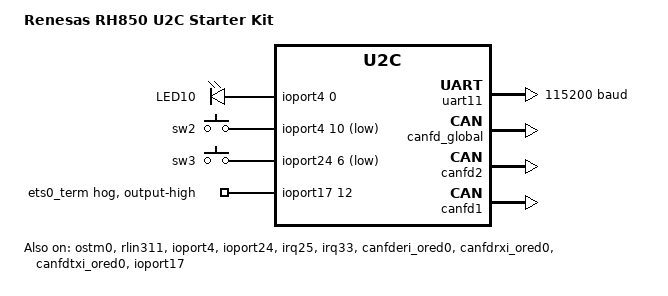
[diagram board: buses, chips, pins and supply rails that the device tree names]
/*
 * Copyright (c) 2026 Renesas Electronics Corporation
 * SPDX-License-Identifier: Apache-2.0
 */

/dts-v1/;

#include <rh850/renesas/rh850u2c/r7f702606afabb-c.dtsi>
#include <dt-bindings/gpio/gpio.h>
#include <dt-bindings/pwm/pwm.h>
#include <dt-bindings/input/input-event-codes.h>

#include "y_ask_rh850u2c-pinctrl.dtsi"

/ {
	model = "Renesas RH850 U2C Starter Kit";
	compatible = "renesas,u2c4", "renesas,u2c";

	chosen {
		zephyr,console = &uart11;
		zephyr,shell-uart = &uart11;
		zephyr,sram = &sram0;
		zephyr,flash = &flash0;
		zephyr,system-timer = &ostm0;
		zephyr,canbus = &canfd2;
	};

	aliases {
		led0 = &led10;
		sw0 = &sw2;
	};

	leds {
		compatible = "gpio-leds";

		led10: led10 {
			gpios = <&ioport4 0 GPIO_ACTIVE_HIGH>;
			label = "LED10";
		};
	};

	gpio_keys {
		compatible = "gpio-keys";

		sw2: sw2 {
			label = "sw2";
			gpios = <&ioport4 10 GPIO_ACTIVE_LOW>;
			zephyr,code = <INPUT_KEY_0>;
		};

		sw3: sw3 {
			label = "sw3";
			gpios = <&ioport24 6 GPIO_ACTIVE_LOW>;
			zephyr,code = <INPUT_KEY_1>;
		};
	};
};

&ostm0 {
	status = "okay";

	timer {
		status = "okay";
	};
};

&rlin311 {
	pinctrl-0 = <&rlin311_default>;
	pinctrl-names = "default";
	status = "okay";

	uart11: uart {
		current-speed = <115200>;
		status = "okay";
	};
};

&ioport4 {
	irqs = <&irq25 10>;
	status = "okay";
};

&ioport24 {
	irqs = <&irq33 6>;
	status = "okay";
};

&irq25 {
	trigger-type = "falling";
	pinctrl-0 = <&irq25_ioport>;
	pinctrl-names = "default";
	status = "okay";
};

&irq33 {
	trigger-type = "falling";
	pinctrl-0 = <&irq33_ioport>;
	pinctrl-names = "default";
	status = "okay";
};

&canfd_global {
	status = "okay";
};

&canfd2 {
	pinctrl-0 = <&canfd2_default>;
	pinctrl-names = "default";
	status = "okay";
	rx-max-filters = <128>;
};

&canfd1 {
	pinctrl-0 = <&canfd1_default>;
	pinctrl-names = "default";
	status = "okay";
	rx-max-filters = <128>;
};

&canfderi_ored0 {
	status = "okay";
};

&canfdrxi_ored0 {
	status = "okay";
};

&canfdtxi_ored0 {
	status = "okay";
};

&ioport17 {
	status = "okay";

	/*
	 * Change to output-low in an application overlay when the board is
	 * not at an end of the bus.
	 */
	ets0_term: ets0_term {
		gpio-hog;
		gpios = <12 GPIO_ACTIVE_HIGH>;
		output-high;
	};
};

&etnf0 {
	pinctrl-0 = <&etnf0_default>;
	pinctrl-names = "default";
	local-mac-address = [74 90 50 12 34 56];
	mdio-interface = "shared";
	pma-filtered;
};

&ct25205 {
	plca-enable;
	plca-node-id = <0>;
	plca-node-count = <8>;
	plca-burst-count = <0>;
	plca-burst-timer = <128>;
	plca-to-timer = <32>;
};

&etnd0_mdio {
	pinctrl-0 = <&etnd0_mdio_default>;
	pinctrl-names = "default";

	eth_phy0: ethernet-phy@1f {
		compatible = "ethernet-phy";
		reg = <0x1f>;
		reset-gpios = <&ioport17 13 GPIO_ACTIVE_LOW>;
		reset-assert-duration-us = <1000>;
		reset-deassertion-timeout-ms = <10>;
		default-speeds = "10BASE Full-Duplex", "100BASE Full-Duplex";
		status = "disabled";
	};
};

&etnd0 {
	pinctrl-0 = <&etnd0_mii_default>;
	pinctrl-names = "default";
	phy-handle = <&eth_phy0>;
	phy-connection-type = "mii";
	local-mac-address = [74 90 50 54 53 4e];
};
